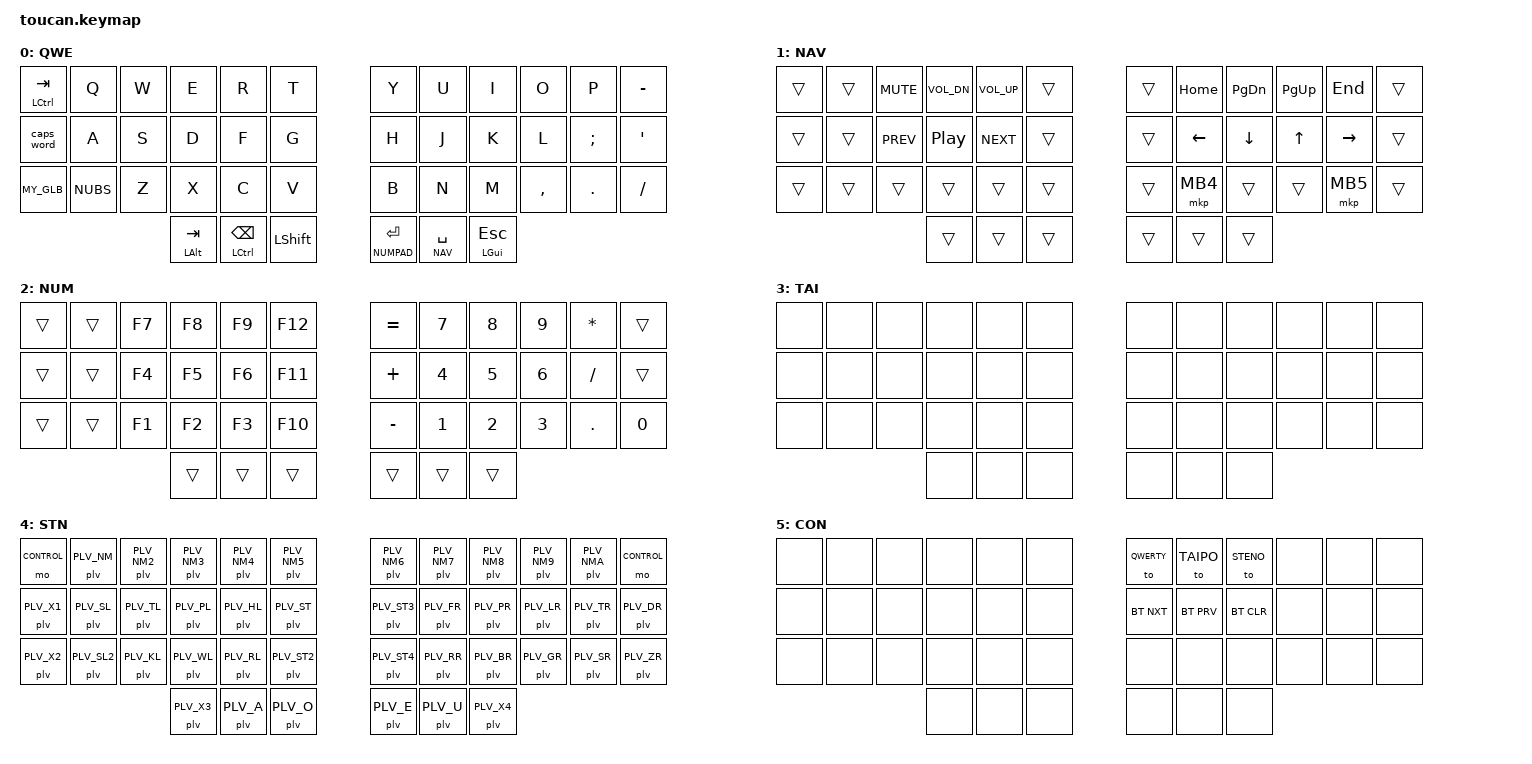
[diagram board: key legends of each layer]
#include <behaviors.dtsi>
#include <dt-bindings/zmk/keys.h>
#include <dt-bindings/zmk/bt.h>
#include <dt-bindings/zmk/outputs.h>
#include <dt-bindings/zmk/pointing.h>

// Plover HID steno (zmk-hid-io-plover-hid module): &plv behavior + PLV_* key bit indices
#include <behaviors/plover_hid.dtsi>
#include <dt-bindings/zmk/hid-io/plover_hid.h>

#define QWERTY  0
#define NAV     1
#define NUMPAD  2
#define TAIPO   3
#define STENO   4
#define CONTROL 5


// CONFIG
#define COMBO_TIMEOUT 70
#define TAIPO_COMBO_LAYER TAIPO
#define STICKY_TIMEOUT 500

// LEFT SIDE
#define TLI  4 // TOP
#define TLM  3 // TOP
#define TLR  2 // TOP
#define TLP  1 // TOP
#define BLI 16 // BOTTOM
#define BLM 15 // BOTTOM
#define BLR 14 // BOTTOM
#define BLP 13 // BOTTOM
#define LOT 38 // O-THUMB
#define LIT 37 // I-THUMB

// RIGHT SIDE
#define TRI  7 // TOP
#define TRM  8 // TOP
#define TRR  9 // TOP
#define TRP 10 // TOP
#define BRI 19 // BOTTOM
#define BRM 20 // BOTTOM
#define BRR 21 // BOTTOM
#define BRP 22 // BOTTOM
#define ROT 39 // O-THUMB
#define RIT 40 // I-THUMB

#define MY_GLB (LG(LC(SPACE)))

&mt {
    quick-tap-ms = <150>;
};

/ {

    combos {
        compatible = "zmk,combos";

        #include "taipo.dtsi"

        combo_control_layer {
            timeout-ms = <COMBO_TIMEOUT>;
            key-positions = <39 40>;
            // Not active on STENO: positions 39+40 are the E+U steno chord there.
            // CONTROL is reached from STENO via the top-corner &mo CONTROL keys instead.
            layers = <QWERTY NAV NUMPAD TAIPO>;
            bindings = <&mo CONTROL>;
        };

        combo_lparen {
            timeout-ms = <COMBO_TIMEOUT>;
            key-positions = <2 14>;
            layers = <QWERTY>;
            bindings = <&kp LEFT_PARENTHESIS>;
        };
        combo_rparen {
            timeout-ms = <COMBO_TIMEOUT>;
            key-positions = <3 15>;
            layers = <QWERTY>;
            bindings = <&kp RIGHT_PARENTHESIS>;
        };
        combo_langle {
            timeout-ms = <COMBO_TIMEOUT>;
            key-positions = <4 16>;
            layers = <QWERTY>;
            bindings = <&kp LESS_THAN>;
        };
        combo_rangle {
            timeout-ms = <COMBO_TIMEOUT>;
            key-positions = <5 17>;
            layers = <QWERTY>;
            bindings = <&kp GREATER_THAN>;
        };
        combo_lbracket {
            timeout-ms = <COMBO_TIMEOUT>;
            key-positions = <14 26>;
            layers = <QWERTY>;
            bindings = <&kp LEFT_BRACKET>;
        };
        combo_rbracket {
            timeout-ms = <COMBO_TIMEOUT>;
            key-positions = <15 27>;
            layers = <QWERTY>;
            bindings = <&kp RIGHT_BRACKET>;
        };
        combo_excl {
            timeout-ms = <COMBO_TIMEOUT>;
            key-positions = <1 13>;
            layers = <QWERTY>;
            bindings = <&kp EXCLAMATION>;
        };
        combo_ques {
            timeout-ms = <COMBO_TIMEOUT>;
            key-positions = <13 25>;
            layers = <QWERTY>;
            bindings = <&kp QUESTION>;
        };
        combo_grave {
            timeout-ms = <COMBO_TIMEOUT>;
            key-positions = <16 28>;
            layers = <QWERTY>;
            bindings = <&kp GRAVE>;
        };
        combo_hat {
            timeout-ms = <COMBO_TIMEOUT>;
            key-positions = <17 29>;
            layers = <QWERTY>;
            bindings = <&kp CARET>;
        };
        combo_hash {
            timeout-ms = <COMBO_TIMEOUT>;
            key-positions = <6 18>;
            layers = <QWERTY>;
            bindings = <&kp NUHS>;
        };
        combo_dollar {
            timeout-ms = <COMBO_TIMEOUT>;
            key-positions = <18 30>;
            layers = <QWERTY>;
            bindings = <&kp DOLLAR>;
        };
        combo_ampersand {
            timeout-ms = <COMBO_TIMEOUT>;
            key-positions = <7 19>;
            layers = <QWERTY>;
            bindings = <&kp AMPERSAND>;
        };
        combo_asterisk {
            timeout-ms = <COMBO_TIMEOUT>;
            key-positions = <19 31>;
            layers = <QWERTY>;
            bindings = <&kp ASTERISK>;
        };
        combo_quote {
            timeout-ms = <COMBO_TIMEOUT>;
            key-positions = <8 20>;
            layers = <QWERTY>;
            bindings = <&kp LS(N2)>;
        };
        combo_percent {
            timeout-ms = <COMBO_TIMEOUT>;
            key-positions = <20 32>;
            layers = <QWERTY>;
            bindings = <&kp PERCENT>;
        };
        combo_tilde {
            timeout-ms = <COMBO_TIMEOUT>;
            key-positions = <9 21>;
            layers = <QWERTY>;
            bindings = <&kp TILDE2>;
        };
        combo_at {
            timeout-ms = <COMBO_TIMEOUT>;
            key-positions = <21 33>;
            layers = <QWERTY>;
            bindings = <&kp LS(SINGLE_QUOTE)>;
        };
    };

    keymap {
        compatible = "zmk,keymap";

        qwerty {
            display-name = "QWE";
            bindings = <
            &mt LCTRL TAB &kp Q     &kp W     &kp E     &kp R     &kp T        &kp Y     &kp U     &kp I     &kp O     &kp P    &kp MINUS
               &caps_word &kp A     &kp S     &kp D     &kp F     &kp G        &kp H     &kp J     &kp K     &kp L     &kp SEMI &kp SQT
               &kp MY_GLB &kp NUBS  &kp Z     &kp X     &kp C     &kp V        &kp B     &kp N     &kp M     &kp COMMA &kp DOT  &kp FSLH
                              &mt LALT TAB   &mt LCTRL BSPC   &kp LSHIFT       &lt NUMPAD RET   &lt NAV SPACE   &mt LGUI ESC
            >;
        };

        nav {
            display-name = "NAV";
            bindings = <
               &trans &trans &kp C_MUTE &kp C_VOL_DN &kp C_VOL_UP &trans       &trans    &kp HOME  &kp PG_DN &kp PG_UP &kp END   &trans
                &trans    &trans   &kp C_PREV &kp C_PP &kp C_NEXT &trans       &trans    &kp LEFT  &kp DOWN  &kp UP    &kp RIGHT &trans
                &trans    &trans    &trans    &trans    &trans    &trans       &trans    &mkp MB4  &trans    &trans    &mkp MB5  &trans
                                              &trans    &trans    &trans       &trans    &trans    &trans
            >;
        };

        sym {
            display-name = "NUM";
            bindings = <
                &trans    &trans    &kp F7    &kp F8    &kp F9    &kp F12      &kp EQUAL &kp N7    &kp N8    &kp N9    &kp STAR  &trans
                &trans    &trans    &kp F4    &kp F5    &kp F6    &kp F11      &kp PLUS  &kp N4    &kp N5    &kp N6    &kp SLASH &trans
                &trans    &trans    &kp F1    &kp F2    &kp F3    &kp F10      &kp MINUS &kp N1    &kp N2    &kp N3    &kp DOT   &kp N0
                                              &trans    &trans    &trans       &trans    &trans    &trans
            >;
        };

        taipo {
            display-name = "TAI";
            bindings = <
                &none      &none      &none      &none      &none      &none        &none      &none      &none      &none      &none      &none
                &none      &none      &none      &none      &none      &none        &none      &none      &none      &none      &none      &none
                &none      &none      &none      &none      &none      &none        &none      &none      &none      &none      &none      &none
                                                 &none      &none      &none        &none      &none      &none
            >;
        };

        steno {
            display-name = "STN";
            bindings = <
                &mo CONTROL  &plv PLV_NM   &plv PLV_NM2  &plv PLV_NM3  &plv PLV_NM4  &plv PLV_NM5     &plv PLV_NM6  &plv PLV_NM7  &plv PLV_NM8  &plv PLV_NM9  &plv PLV_NMA  &mo CONTROL
                &plv PLV_X1  &plv PLV_SL   &plv PLV_TL   &plv PLV_PL   &plv PLV_HL   &plv PLV_ST      &plv PLV_ST3  &plv PLV_FR   &plv PLV_PR   &plv PLV_LR   &plv PLV_TR   &plv PLV_DR
                &plv PLV_X2  &plv PLV_SL2  &plv PLV_KL   &plv PLV_WL   &plv PLV_RL   &plv PLV_ST2     &plv PLV_ST4  &plv PLV_RR   &plv PLV_BR   &plv PLV_GR   &plv PLV_SR   &plv PLV_ZR
                                           &plv PLV_X3   &plv PLV_A    &plv PLV_O                     &plv PLV_E    &plv PLV_U    &plv PLV_X4
            >;
        };

        control {
            display-name = "CON";
            bindings = <
                &none      &none      &none      &none      &none      &none        &to QWERTY &to TAIPO  &to STENO  &none      &none      &none
                &none      &none      &none      &none      &none      &none        &bt BT_NXT &bt BT_PRV &bt BT_CLR &none      &none      &none
                &none      &none      &none      &none      &none      &none        &none      &none      &none      &none      &none      &none
                                                 &none      &none      &none        &none      &none      &none 
            >;
        };
    };
};
